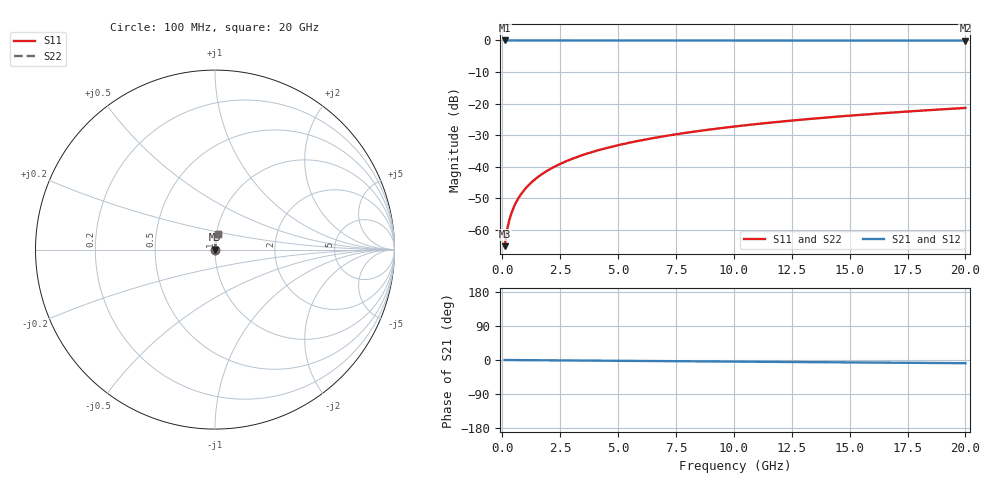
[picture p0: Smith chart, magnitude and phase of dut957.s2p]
! Touchstone file exported from HFSS 2026.1.0
!  File:  C:/ffzhzh/LocalFiles/Ansys_Project_Files/temp_train_TSV_957_1783187422_43440.aedt
!  Generated:  01:52:22 AM Jul  5, 2026
!  Design:  TSV
!  Project:  temp_train_TSV_957_1783187422_43440
! Variables:
!  h_bsmrdl = 2um
!  h_ox = 20um
!  h_rdl = 5um
!  h_sub = 60.56um
!  h_tmrdl = 5um
!  h_tsv = 60.56um
!  h_via = 3um
!  l_bsmrdl = 300um
!  l_sub = 410.14um
!  l_tmrdl = 200um
!  m_sub = 200um
!  pitch = 54.78um
!  r_tsv = 5.07um
!  s_tmrdl = 10um
!  w_bsmrdl = 18um
!  w_sub = 500um
!  w_tmrdl = 12um
!  x_tsv_center1 = 206um
!  x_tsv_center2 = 524um
!  x_tsv_center3 = 736um
!  x_tsv_center4 = 1054um
!  x_tsv_center5 = 1266um
!  x_tsv_center6 = 1584um
# GHz S MA R 50.000000
! Terminal data exported
! Port[1] = TSV1_1_T1
! Port[2] = TSV1_1_T2
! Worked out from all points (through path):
!   200 points, 100 MHz to 20 GHz, reference 50 ohm
!   highest |S21| = 0.00 dB at 100 MHz (marker M1); lowest = 0.0 dB at 20 GHz (marker M2)
!   group delay of S21, straight-line fit = 1.17 ps
!   lowest |S11| = -65.1 dB at 100 MHz (marker M3), VSWR 1.00, Z = 50 + j0.0464 ohm
!   |S11| at or under -10 dB: start of sweep to end of sweep
!   |S22| runs from -65.1 to -21.4 dB; largest |S21 - S12| = 2.3e-15
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0.1  0.0005537 56.8  0.9997 -0.0  0.9997 -0.0  0.0005537 56.8
! Gamma 0 0 0 0
! Port Impedance 50 0 50 0
0.2  0.0009755 71.3  0.9997 -0.1  0.9997 -0.1  0.0009755 71.3
0.3  0.001419 76.7  0.9997 -0.1  0.9997 -0.1  0.001419 76.7
0.4  0.001865 79.4  0.9997 -0.2  0.9997 -0.2  0.001865 79.4
0.5  0.002311 81.0  0.9996 -0.2  0.9996 -0.2  0.002311 81.0
0.7  0.003197 82.9  0.9996 -0.3  0.9996 -0.3  0.003197 82.9
0.8  0.003639 83.5  0.9996 -0.3  0.9996 -0.3  0.003639 83.5
1  0.004522 84.4  0.9996 -0.4  0.9996 -0.4  0.004522 84.4
1.2  0.005403 84.9  0.9995 -0.5  0.9995 -0.5  0.005403 84.9
1.4  0.006284 85.3  0.9995 -0.6  0.9995 -0.6  0.006284 85.3
1.7  0.007604 85.7  0.9995 -0.7  0.9995 -0.7  0.007604 85.7
2  0.008922 85.9  0.9994 -0.9  0.9994 -0.9  0.008922 85.9
2.7  0.01199 86.1  0.9993 -1.2  0.9993 -1.2  0.01199 86.1
3.5  0.01547 86.1  0.9992 -1.5  0.9992 -1.5  0.01547 86.1
4.2  0.0185 85.9  0.9991 -1.8  0.9991 -1.8  0.0185 85.9
5  0.02195 85.7  0.9989 -2.1  0.9989 -2.1  0.02195 85.7
6.8  0.02967 85.2  0.9986 -2.9  0.9986 -2.9  0.02967 85.2
8.3  0.03607 84.8  0.9983 -3.5  0.9983 -3.5  0.03607 84.8
10.1  0.04373 84.2  0.9979 -4.3  0.9979 -4.3  0.04373 84.2
13.4  0.05771 83.0  0.997 -5.7  0.997 -5.7  0.05771 83.0
16.7  0.07161 81.8  0.9959 -7.0  0.9959 -7.0  0.07161 81.8
20  0.0854 80.5  0.9947 -8.4  0.9947 -8.4  0.0854 80.5
